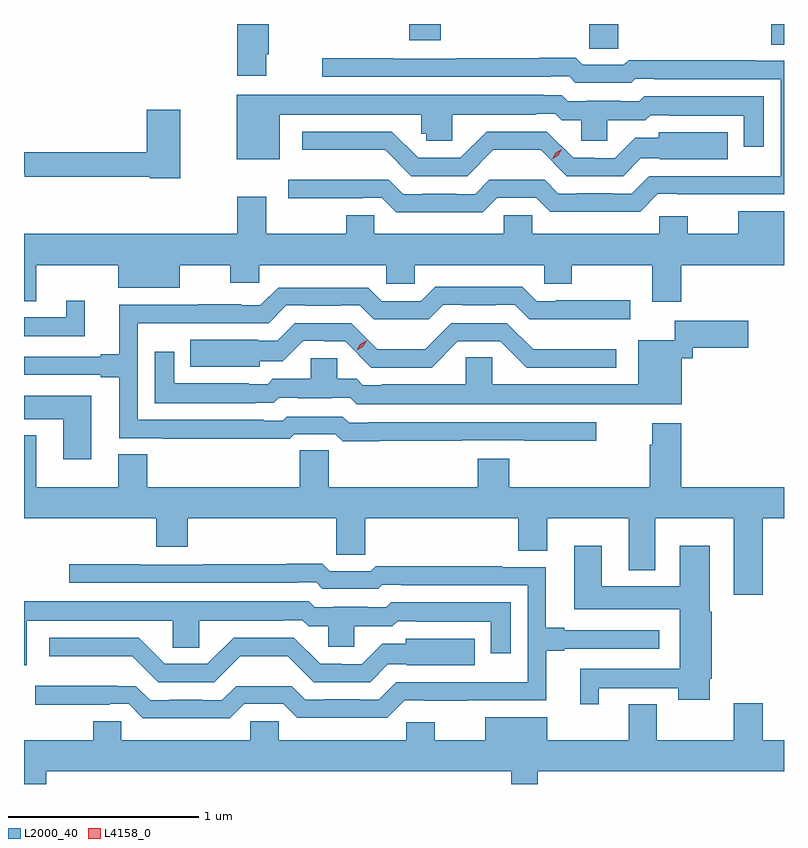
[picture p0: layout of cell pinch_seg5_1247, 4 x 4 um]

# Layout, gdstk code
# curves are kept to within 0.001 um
import gdstk
lib = gdstk.Library(unit=1e-6, precision=1e-09)
def R(c, l, rs):  # rectangles x0, y0, x1, y1
    for r in rs: c.add(gdstk.rectangle(r[:2], r[2:], *l))
def P(c, l, *ps):  # polygons
    for p in ps: c.add(gdstk.Polygon(p, *l))
L2000_40 = (2000, 40)
L4158_0 = (4158, 0)

pinch_seg5_1247 = lib.new_cell('pinch_seg5_1247')
R(pinch_seg5_1247, L2000_40, [(482.015,857.899,482.167,858.029), (482.972,857.92,483.039,858.029), (481.067,857.943,481.232,858.029)])
P(pinch_seg5_1247, L2000_40, [(480.313,857.869),(480.326,857.869),(480.326,858.029),(480.161,858.029),(480.161,857.757),(480.313,857.757)],
  [(481.53,857.115),(481.735,857.115),(481.808,857.042),(482.282,857.042),(482.375,857.135),(482.476,857.135),(482.476,857.132),(483.039,857.133),(483.039,857.835),(482.888,857.835),(482.888,857.838),(482.221,857.839),(482.196,857.814),(481.98,857.814),(481.942,857.852),(481.75,857.852),(481.75,857.85),(481.315,857.85),(481.315,857.847),(480.983,857.847),(480.983,857.85),(480.609,857.85),(480.609,857.751),(481.808,857.751),(481.808,857.754),(481.908,857.754),(481.941,857.721),(482.235,857.721),(482.256,857.742),(482.356,857.742),(482.356,857.739),(483.021,857.739),(483.021,857.229),(482.331,857.229),(482.238,857.136),(482.138,857.136),(482.138,857.139),(481.951,857.139),(481.951,857.136),(481.851,857.136),(481.779,857.208),(481.488,857.208),(481.413,857.133),(481.313,857.133),(481.313,857.136),(481.135,857.136),(481.135,857.133),(481.035,857.133),(480.96,857.208),(480.429,857.209),(480.429,857.111),(480.821,857.111),(480.821,857.115),(480.921,857.115),(480.997,857.039),(481.454,857.039)],
  [(480.385,857.552),(481.131,857.552),(481.131,857.451),(481.155,857.451),(481.155,857.415),(481.293,857.415),(481.293,857.552),(481.736,857.552),(481.736,857.556),(481.836,857.556),(481.869,857.523),(481.971,857.523),(481.971,857.415),(482.109,857.415),(482.109,857.522),(482.309,857.522),(482.337,857.55),(482.437,857.55),(482.437,857.546),(482.828,857.546),(482.828,857.382),(482.932,857.382),(482.932,857.65),(482.304,857.649),(482.277,857.622),(482.177,857.622),(482.177,857.626),(482.002,857.626),(482.002,857.622),(481.902,857.622),(481.869,857.655),(480.158,857.656),(480.158,857.318),(480.385,857.318)],
  [(479.862,857.578),(479.684,857.578),(479.684,857.354),(479.039,857.354),(479.039,857.238),(479.044,857.238),(479.044,857.226),(479.7,857.226),(479.7,857.218),(479.862,857.218)],
  [(481.508,857.366),(481.759,857.366),(481.896,857.229),(482.193,857.229),(482.286,857.322),(482.386,857.322),(482.386,857.318),(482.743,857.318),(482.743,857.458),(482.379,857.458),(482.379,857.431),(482.257,857.431),(482.148,857.322),(482.04,857.322),(482.04,857.325),(481.929,857.325),(481.791,857.463),(481.474,857.463),(481.336,857.325),(481.113,857.325),(480.975,857.463),(480.504,857.463),(480.504,857.366),(480.94,857.366),(481.077,857.229),(481.371,857.229)],
  [(482.382,856.924),(481.713,856.924),(481.713,857.022),(481.563,857.022),(481.563,856.924),(480.882,856.924),(480.882,857.022),(480.736,857.022),(480.736,856.924),(480.313,856.924),(480.313,857.119),(480.161,857.119),(480.161,856.924),(479.039,856.924),(479.039,856.571),(479.104,856.571),(479.104,856.76),(479.534,856.76),(479.534,856.64),(479.86,856.64),(479.86,856.76),(480.125,856.76),(480.125,856.667),(480.277,856.667),(480.277,856.76),(480.945,856.76),(480.945,856.662),(481.095,856.662),(481.095,856.76),(481.776,856.76),(481.776,856.662),(481.923,856.662),(481.923,856.76),(482.345,856.76),(482.345,856.566),(482.498,856.566),(482.498,856.76),(483.039,856.76),(483.039,857.044),(482.798,857.044),(482.798,856.924),(482.533,856.924),(482.533,857.017),(482.382,857.017)],
  [(480.908,855.835),(481.343,855.835),(481.343,855.837),(481.675,855.837),(481.675,855.835),(482.05,855.835),(482.05,855.933),(480.85,855.933),(480.85,855.93),(480.75,855.93),(480.717,855.963),(480.423,855.963),(480.402,855.942),(480.302,855.942),(480.302,855.945),(479.637,855.945),(479.637,856.455),(480.327,856.455),(480.42,856.548),(480.52,856.548),(480.52,856.545),(480.707,856.545),(480.707,856.548),(480.807,856.548),(480.879,856.476),(481.17,856.476),(481.245,856.551),(481.345,856.551),(481.345,856.548),(481.523,856.548),(481.523,856.551),(481.623,856.551),(481.698,856.476),(482.23,856.475),(482.23,856.574),(481.837,856.574),(481.837,856.569),(481.737,856.569),(481.661,856.645),(481.204,856.645),(481.128,856.569),(480.923,856.569),(480.85,856.642),(480.376,856.642),(480.283,856.549),(480.182,856.549),(480.182,856.553),(479.956,856.553),(479.956,856.551),(479.54,856.551),(479.54,856.291),(479.444,856.291),(479.444,856.278),(479.039,856.278),(479.039,856.182),(479.444,856.182),(479.444,856.17),(479.54,856.17),(479.54,855.849),(479.77,855.849),(479.77,855.847),(480.344,855.847),(480.344,855.845),(480.437,855.845),(480.462,855.87),(480.678,855.87),(480.716,855.832),(480.908,855.832)],
  [(479.36,856.573),(479.261,856.573),(479.261,856.486),(479.039,856.486),(479.039,856.385),(479.36,856.385)],
  [(482.5,856.269),(482.559,856.269),(482.559,856.325),(482.851,856.325),(482.851,856.467),(482.463,856.467),(482.463,856.365),(482.273,856.365),(482.273,856.132),(481.503,856.132),(481.503,856.274),(481.365,856.274),(481.365,856.132),(480.922,856.132),(480.922,856.128),(480.822,856.128),(480.789,856.161),(480.687,856.161),(480.687,856.269),(480.549,856.269),(480.549,856.162),(480.349,856.162),(480.321,856.134),(480.221,856.134),(480.221,856.138),(479.83,856.138),(479.83,856.303),(479.726,856.303),(479.726,856.034),(480.354,856.035),(480.381,856.062),(480.481,856.062),(480.481,856.058),(480.656,856.058),(480.656,856.062),(480.756,856.062),(480.789,856.029),(482.5,856.028)],
  [(481.322,856.359),(481.546,856.359),(481.684,856.221),(482.155,856.221),(482.155,856.318),(481.718,856.318),(481.581,856.455),(481.287,856.455),(481.15,856.318),(480.899,856.318),(480.762,856.455),(480.465,856.455),(480.372,856.362),(480.272,856.362),(480.272,856.366),(479.915,856.366),(479.915,856.226),(480.279,856.226),(480.279,856.253),(480.401,856.253),(480.51,856.362),(480.618,856.362),(480.618,856.359),(480.729,856.359),(480.867,856.221),(481.184,856.221)],
  [(479.392,856.072),(479.039,856.072),(479.039,855.95),(479.246,855.95),(479.246,855.738),(479.392,855.738)],
  [(482.927,855.428),(483.039,855.428),(483.039,855.592),(482.498,855.592),(482.498,855.928),(482.345,855.928),(482.345,855.815),(482.333,855.815),(482.333,855.592),(481.592,855.592),(481.592,855.742),(481.427,855.742),(481.427,855.592),(480.643,855.592),(480.643,855.785),(480.491,855.785),(480.491,855.592),(479.687,855.592),(479.687,855.764),(479.534,855.764),(479.534,855.592),(479.104,855.592),(479.104,855.865),(479.039,855.865),(479.039,855.428),(479.735,855.428),(479.735,855.279),(479.9,855.279),(479.9,855.428),(480.683,855.428),(480.683,855.235),(480.835,855.235),(480.835,855.428),(481.64,855.428),(481.64,855.256),(481.792,855.256),(481.792,855.428),(482.222,855.428),(482.222,855.155),(482.362,855.155),(482.362,855.428),(482.774,855.428),(482.774,855.024),(482.927,855.024)],
  [(482.065,854.534),(482.482,854.534),(482.482,854.472),(482.647,854.472),(482.647,854.584),(482.66,854.584),(482.66,854.936),(482.647,854.936),(482.647,855.283),(482.489,855.283),(482.489,855.07),(482.08,855.07),(482.08,855.283),(481.934,855.283),(481.934,854.948),(482.489,854.948),(482.489,854.635),(481.967,854.635),(481.967,854.448),(482.065,854.448)],
  [(480.198,854.451),(480.403,854.451),(480.476,854.378),(480.95,854.378),(481.043,854.471),(481.144,854.471),(481.144,854.468),(481.787,854.469),(481.787,854.73),(481.882,854.73),(481.882,854.742),(482.383,854.742),(482.383,854.838),(481.882,854.838),(481.882,854.851),(481.786,854.851),(481.786,855.171),(481.556,855.171),(481.556,855.174),(480.889,855.175),(480.864,855.15),(480.648,855.15),(480.61,855.188),(480.418,855.188),(480.418,855.186),(479.983,855.186),(479.983,855.183),(479.651,855.183),(479.651,855.186),(479.277,855.186),(479.277,855.087),(480.476,855.087),(480.476,855.09),(480.576,855.09),(480.609,855.057),(480.903,855.057),(480.924,855.078),(481.024,855.078),(481.024,855.075),(481.689,855.075),(481.689,854.565),(480.999,854.565),(480.906,854.472),(480.806,854.472),(480.806,854.475),(480.619,854.475),(480.619,854.472),(480.519,854.472),(480.447,854.544),(480.156,854.544),(480.081,854.469),(479.981,854.469),(479.981,854.472),(479.803,854.472),(479.803,854.469),(479.703,854.469),(479.628,854.544),(479.097,854.545),(479.097,854.447),(479.489,854.447),(479.489,854.451),(479.589,854.451),(479.665,854.375),(480.122,854.375)],
  [(479.053,854.888),(479.823,854.888),(479.823,854.746),(479.961,854.746),(479.961,854.888),(480.404,854.888),(480.404,854.892),(480.504,854.892),(480.537,854.859),(480.639,854.859),(480.639,854.751),(480.777,854.751),(480.777,854.858),(480.977,854.858),(481.005,854.886),(481.105,854.886),(481.105,854.882),(481.496,854.882),(481.496,854.718),(481.6,854.718),(481.6,854.986),(480.972,854.985),(480.945,854.958),(480.845,854.958),(480.845,854.962),(480.67,854.962),(480.67,854.958),(480.57,854.958),(480.537,854.991),(479.039,854.992),(479.039,854.654),(479.053,854.654)],
  [(480.176,854.702),(480.427,854.702),(480.564,854.565),(480.861,854.565),(480.954,854.658),(481.054,854.658),(481.054,854.654),(481.411,854.654),(481.411,854.794),(481.047,854.794),(481.047,854.767),(480.925,854.767),(480.816,854.658),(480.708,854.658),(480.708,854.661),(480.597,854.661),(480.459,854.799),(480.142,854.799),(480.004,854.661),(479.78,854.661),(479.642,854.799),(479.172,854.799),(479.172,854.702),(479.608,854.702),(479.745,854.565),(480.039,854.565)],
  [(479.155,854.096),(481.604,854.096),(481.604,854.029),(481.744,854.029),(481.744,854.096),(483.039,854.096),(483.039,854.26),(482.927,854.26),(482.927,854.455),(482.774,854.455),(482.774,854.26),(482.37,854.26),(482.37,854.449),(482.222,854.449),(482.222,854.26),(481.792,854.26),(481.792,854.38),(481.466,854.38),(481.466,854.26),(481.201,854.26),(481.201,854.353),(481.05,854.353),(481.05,854.26),(480.381,854.26),(480.381,854.358),(480.231,854.358),(480.231,854.26),(479.55,854.26),(479.55,854.358),(479.404,854.358),(479.404,854.26),(479.039,854.26),(479.039,854.029),(479.155,854.029)])
P(pinch_seg5_1247, L4158_0, [(481.82,857.318),(481.82,857.318),(481.838,857.351),(481.87,857.37),(481.87,857.37),(481.87,857.37),(481.852,857.337),(481.82,857.318)],
  [(480.791,856.311),(480.791,856.311),(480.809,856.344),(480.841,856.362),(480.842,856.362),(480.842,856.362),(480.823,856.33),(480.791,856.311)])

lib.write_gds('pinch_seg5_1247.gds')
